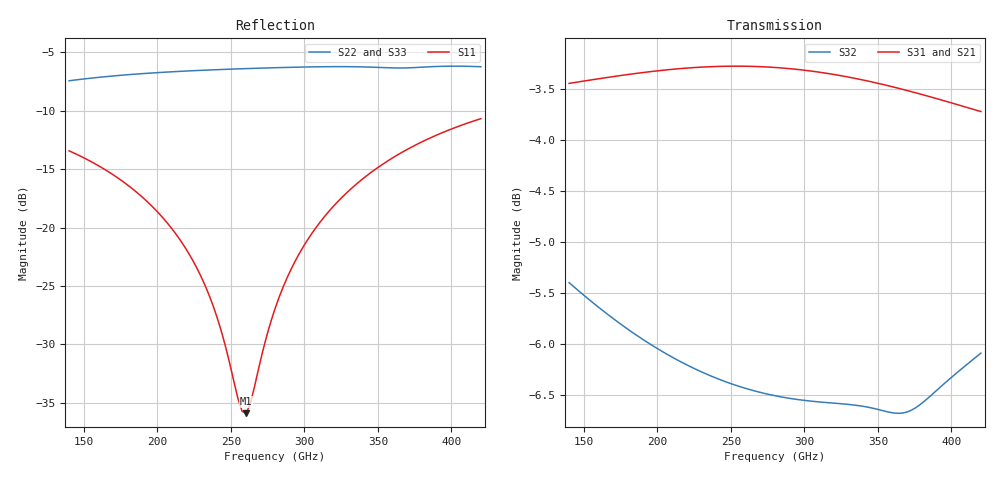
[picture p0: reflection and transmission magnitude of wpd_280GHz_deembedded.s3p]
! Created with skrf 2.0.1 (http://scikit-rf.org).
# GHz S DB R 50.0
!freq dBS11 angS11 dBS12 angS12 dBS13 angS13
! dBS21 angS21 dBS22 angS22 dBS23 angS23
! dBS31 angS31 dBS32 angS32 dBS33 angS33
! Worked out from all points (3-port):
!   101 points, 140 GHz to 420 GHz, reference 50 ohm
!   strongest paths, dB at 140 GHz, 210 GHz, 280 GHz, 350 GHz, 420 GHz:
!     S31: -3.4, -3.3, -3.3, -3.4, -3.7
!     S21: -3.4, -3.3, -3.3, -3.5, -3.7
!     S32: -5.4, -6.1, -6.5, -6.6, -6.1
!   lowest |S11| = -35.9 dB at 260.4 GHz (marker M1), VSWR 1.03, Z = 48.6 - j0.789 ohm
!   |S11| at or under -10 dB: start of sweep to end of sweep
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140  -13.42 148.1  -3.45 -40.9  -3.44 -40.9
     -3.45 -40.9  -7.42 55.9  -5.40 -97.2
     -3.44 -40.9  -5.40 -97.2  -7.44 55.9
184.8  -16.85 139.2  -3.35 -54.6  -3.35 -54.6
       -3.35 -54.6  -6.86 34.6  -5.90 -124.6
       -3.35 -54.6  -5.90 -124.6  -6.88 34.5
215.6  -21.07 135.5  -3.31 -64.2  -3.30 -64.2
       -3.31 -64.2  -6.62 22.3  -6.17 -142.9
       -3.30 -64.2  -6.17 -142.9  -6.64 22.3
235.2  -25.78 138.1  -3.29 -70.4  -3.28 -70.4
       -3.29 -70.4  -6.50 15.2  -6.30 -154.4
       -3.28 -70.4  -6.30 -154.4  -6.52 15.1
254.8  -34.63 174.2  -3.29 -76.7  -3.27 -76.7
       -3.29 -76.7  -6.41 8.4  -6.41 -165.8
       -3.27 -76.7  -6.41 -165.8  -6.43 8.3
260.4  -35.90 -149.6  -3.29 -78.5  -3.28 -78.5
       -3.29 -78.5  -6.38 6.5  -6.43 -169.0
       -3.28 -78.5  -6.43 -169.0  -6.41 6.4
280  -26.94 -92.2  -3.30 -84.8  -3.29 -84.8
     -3.30 -84.8  -6.31 -0.0  -6.50 179.6
     -3.29 -84.8  -6.50 179.6  -6.33 -0.1
299.6  -21.55 -87.4  -3.33 -91.1  -3.31 -91.1
       -3.33 -91.1  -6.25 -6.5  -6.55 168.2
       -3.31 -91.1  -6.55 168.2  -6.28 -6.6
330.4  -16.82 -90.6  -3.40 -100.9  -3.38 -100.9
       -3.40 -100.9  -6.22 -16.8  -6.59 150.2
       -3.38 -100.9  -6.59 150.2  -6.25 -16.8
420  -10.67 -109.1  -3.74 -128.5  -3.72 -128.6
     -3.74 -128.5  -6.22 -48.8  -6.09 99.4
     -3.72 -128.6  -6.09 99.4  -6.26 -48.9
